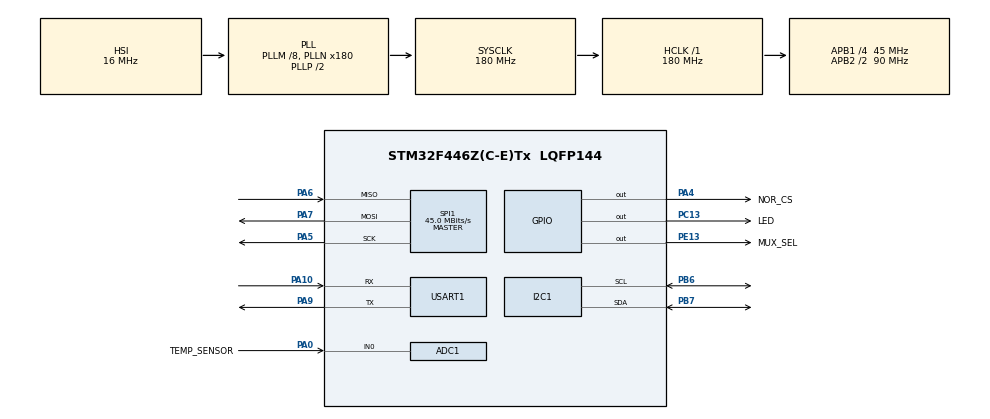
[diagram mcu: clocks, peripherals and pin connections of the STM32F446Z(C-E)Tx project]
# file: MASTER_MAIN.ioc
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ADC1.Channel-0\#ChannelRegularConversion=ADC_CHANNEL_0
ADC1.NbrOfConversionFlag=1
ADC1.Rank-0\#ChannelRegularConversion=1
ADC1.SamplingTime-0\#ChannelRegularConversion=ADC_SAMPLETIME_3CYCLES
ADC1.master=1
FREERTOS.INCLUDE_vTaskDelayUntil=1
FREERTOS.Tasks01=Task01,2,128,StartTask01,Default,NULL,Dynamic,NULL,NULL;Task02,0,128,StartTask02,Default,NULL,Dynamic,NULL,NULL
Mcu.Family=STM32F4
Mcu.Name=STM32F446Z(C-E)Tx
Mcu.Package=LQFP144
NVIC.PriorityGroup=NVIC_PRIORITYGROUP_4
NVIC.TIM1_UP_TIM10_IRQn=true\:15\:0\:false\:false\:true\:false\:false\:true\:true
NVIC.TimeBase=TIM1_UP_TIM10_IRQn
NVIC.TimeBaseIP=TIM1
PA0-WKUP.GPIO_Label=TEMP_SENSOR
PA0-WKUP.Signal=ADCx_IN0
PA10.Mode=Asynchronous
PA10.Signal=USART1_RX
PA13.Mode=Serial_Wire
PA13.Signal=SYS_JTMS-SWDIO
PA14.Mode=Serial_Wire
PA14.Signal=SYS_JTCK-SWCLK
PA4.GPIO_Label=NOR_CS
PA4.Signal=GPIO_Output
PA5.Mode=Full_Duplex_Master
PA5.Signal=SPI1_SCK
PA6.Mode=Full_Duplex_Master
PA6.Signal=SPI1_MISO
PA7.Mode=Full_Duplex_Master
PA7.Signal=SPI1_MOSI
PA9.Mode=Asynchronous
PA9.Signal=USART1_TX
PB6.Mode=I2C
PB6.Signal=I2C1_SCL
PB7.Mode=I2C
PB7.Signal=I2C1_SDA
PC13.GPIO_Label=LED
PC13.Signal=GPIO_Output
PE13.GPIO_Label=MUX_SEL
PE13.Signal=GPIO_Output
ProjectManager.HeapSize=0x200
ProjectManager.StackSize=0x400
ProjectManager.TargetToolchain=STM32CubeIDE
RCC.AHBFreq_Value=180000000
RCC.APB1CLKDivider=RCC_HCLK_DIV4
RCC.APB1Freq_Value=45000000
RCC.APB1TimFreq_Value=90000000
RCC.APB2CLKDivider=RCC_HCLK_DIV2
RCC.APB2Freq_Value=90000000
RCC.APB2TimFreq_Value=180000000
RCC.CortexFreq_Value=180000000
RCC.HCLKFreq_Value=180000000
RCC.PLLM=8
RCC.PLLN=180
RCC.SYSCLKFreq_VALUE=180000000
RCC.SYSCLKSource=RCC_SYSCLKSOURCE_PLLCLK
RCC.USBFreq_Value=180000000
RCC.VCOOutputFreq_Value=360000000
SH.ADCx_IN0.0=ADC1_IN0,IN0
SPI1.BaudRatePrescaler=SPI_BAUDRATEPRESCALER_2
SPI1.CalculateBaudRate=45.0 MBits/s
SPI1.Direction=SPI_DIRECTION_2LINES
SPI1.Mode=SPI_MODE_MASTER
SPI1.VirtualType=VM_MASTER
USART1.VirtualMode=VM_ASYNC
VP_FREERTOS_VS_CMSIS_V1.Mode=CMSIS_V1
VP_SYS_VS_tim1.Mode=TIM1
board=custom

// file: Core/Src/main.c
/* USER CODE BEGIN Header */
/**
  ******************************************************************************
  * @file           : main.c
  * @brief          : Main program body
  ******************************************************************************
  * @attention
  *
  * Copyright (c) 2023 STMicroelectronics.
  * All rights reserved.
  *
  * This software is licensed under terms that can be found in the LICENSE file
  * in the root directory of this software component.
  * If no LICENSE file comes with this software, it is provided AS-IS.
  *
  ******************************************************************************
  */
/* USER CODE END Header */
#include "main.h"
#include "cmsis_os.h"

/* USER CODE BEGIN Includes */
#include <stdio.h>
#include "util.h"
/* USER CODE END Includes */

ADC_HandleTypeDef hadc1;

I2C_HandleTypeDef hi2c1;

SPI_HandleTypeDef hspi1;

UART_HandleTypeDef huart1;

osThreadId Task01Handle;
osThreadId Task02Handle;

void SystemClock_Config(void);
static void MX_GPIO_Init(void);
static void MX_ADC1_Init(void);
static void MX_I2C1_Init(void);
static void MX_SPI1_Init(void);
static void MX_USART1_UART_Init(void);
void StartTask01(void const * argument);
void StartTask02(void const * argument);

/* USER CODE BEGIN PFP */
#ifdef __GNUC__
#define PUTCHAR_PROTOTYPE int __io_putchar(int ch)
#else
#define PUTCHAR_PROTOTYPE int fputc(int ch, FILE *f)
#endif

PUTCHAR_PROTOTYPE
{
  HAL_UART_Transmit(&huart1, (uint8_t *)&ch, 1, HAL_MAX_DELAY);
  return ch;
}
/* USER CODE END PFP */

/* USER CODE BEGIN 0 */
void blink(int delayOn, int delayOff){
	printf("LED ON\n\r");
	HAL_GPIO_WritePin(LED_GPIO_Port, LED_Pin, GPIO_PIN_RESET);
	HAL_Delay(delayOn);

	printf("LED OFF\n\r");
	HAL_GPIO_WritePin(LED_GPIO_Port, LED_Pin, GPIO_PIN_SET);
	HAL_Delay(delayOff);
}
/* USER CODE END 0 */

int main(void)
{

  /* MCU Configuration--------------------------------------------------------*/

  /* Reset of all peripherals, Initializes the Flash interface and the Systick. */
  HAL_Init();

  /* Configure the system clock */
  SystemClock_Config();

  /* Initialize all configured peripherals */
  MX_GPIO_Init();
  MX_ADC1_Init();
  MX_I2C1_Init();
  MX_SPI1_Init();
  MX_USART1_UART_Init();

  /* Create the thread(s) */
  /* definition and creation of Task01 */
  osThreadDef(Task01, StartTask01, osPriorityHigh, 0, 128);
  Task01Handle = osThreadCreate(osThread(Task01), NULL);

  /* definition and creation of Task02 */
  osThreadDef(Task02, StartTask02, osPriorityNormal, 0, 128);
  Task02Handle = osThreadCreate(osThread(Task02), NULL);

  /* Start scheduler */
  osKernelStart();

  /* We should never get here as control is now taken by the scheduler */
  /* Infinite loop */
  while (1)
  {

  }
}

void SystemClock_Config(void)
{
  RCC_OscInitTypeDef RCC_OscInitStruct = {0};
  RCC_ClkInitTypeDef RCC_ClkInitStruct = {0};

  /** Configure the main internal regulator output voltage
  */
  __HAL_RCC_PWR_CLK_ENABLE();
  __HAL_PWR_VOLTAGESCALING_CONFIG(PWR_REGULATOR_VOLTAGE_SCALE1);

  /** Initializes the RCC Oscillators according to the specified parameters
  * in the RCC_OscInitTypeDef structure.
  */
  RCC_OscInitStruct.OscillatorType = RCC_OSCILLATORTYPE_HSI;
  RCC_OscInitStruct.HSIState = RCC_HSI_ON;
  RCC_OscInitStruct.HSICalibrationValue = RCC_HSICALIBRATION_DEFAULT;
  RCC_OscInitStruct.PLL.PLLState = RCC_PLL_ON;
  RCC_OscInitStruct.PLL.PLLSource = RCC_PLLSOURCE_HSI;
  RCC_OscInitStruct.PLL.PLLM = 8;
  RCC_OscInitStruct.PLL.PLLN = 180;
  RCC_OscInitStruct.PLL.PLLP = RCC_PLLP_DIV2;
  RCC_OscInitStruct.PLL.PLLQ = 2;
  RCC_OscInitStruct.PLL.PLLR = 2;
  if (HAL_RCC_OscConfig(&RCC_OscInitStruct) != HAL_OK)
  {
    Error_Handler();
  }

  /** Activate the Over-Drive mode
  */
  if (HAL_PWREx_EnableOverDrive() != HAL_OK)
  {
    Error_Handler();
  }

  /** Initializes the CPU, AHB and APB buses clocks
  */
  RCC_ClkInitStruct.ClockType = RCC_CLOCKTYPE_HCLK|RCC_CLOCKTYPE_SYSCLK
                              |RCC_CLOCKTYPE_PCLK1|RCC_CLOCKTYPE_PCLK2;
  RCC_ClkInitStruct.SYSCLKSource = RCC_SYSCLKSOURCE_PLLCLK;
  RCC_ClkInitStruct.AHBCLKDivider = RCC_SYSCLK_DIV1;
  RCC_ClkInitStruct.APB1CLKDivider = RCC_HCLK_DIV4;
  RCC_ClkInitStruct.APB2CLKDivider = RCC_HCLK_DIV2;

  if (HAL_RCC_ClockConfig(&RCC_ClkInitStruct, FLASH_LATENCY_5) != HAL_OK)
  {
    Error_Handler();
  }
}

static void MX_ADC1_Init(void)
{

  ADC_ChannelConfTypeDef sConfig = {0};

  /** Configure the global features of the ADC (Clock, Resolution, Data Alignment and number of conversion)
  */
  hadc1.Instance = ADC1;
  hadc1.Init.ClockPrescaler = ADC_CLOCK_SYNC_PCLK_DIV4;
  hadc1.Init.Resolution = ADC_RESOLUTION_12B;
  hadc1.Init.ScanConvMode = DISABLE;
  hadc1.Init.ContinuousConvMode = DISABLE;
  hadc1.Init.DiscontinuousConvMode = DISABLE;
  hadc1.Init.ExternalTrigConvEdge = ADC_EXTERNALTRIGCONVEDGE_NONE;
  hadc1.Init.ExternalTrigConv = ADC_SOFTWARE_START;
  hadc1.Init.DataAlign = ADC_DATAALIGN_RIGHT;
  hadc1.Init.NbrOfConversion = 1;
  hadc1.Init.DMAContinuousRequests = DISABLE;
  hadc1.Init.EOCSelection = ADC_EOC_SINGLE_CONV;
  if (HAL_ADC_Init(&hadc1) != HAL_OK)
  {
    Error_Handler();
  }

  /** Configure for the selected ADC regular channel its corresponding rank in the sequencer and its sample time.
  */
  sConfig.Channel = ADC_CHANNEL_0;
  sConfig.Rank = 1;
  sConfig.SamplingTime = ADC_SAMPLETIME_3CYCLES;
  if (HAL_ADC_ConfigChannel(&hadc1, &sConfig) != HAL_OK)
  {
    Error_Handler();
  }

}

static void MX_I2C1_Init(void)
{

  hi2c1.Instance = I2C1;
  hi2c1.Init.ClockSpeed = 100000;
  hi2c1.Init.DutyCycle = I2C_DUTYCYCLE_2;
  hi2c1.Init.OwnAddress1 = 0;
  hi2c1.Init.AddressingMode = I2C_ADDRESSINGMODE_7BIT;
  hi2c1.Init.DualAddressMode = I2C_DUALADDRESS_DISABLE;
  hi2c1.Init.OwnAddress2 = 0;
  hi2c1.Init.GeneralCallMode = I2C_GENERALCALL_DISABLE;
  hi2c1.Init.NoStretchMode = I2C_NOSTRETCH_DISABLE;
  if (HAL_I2C_Init(&hi2c1) != HAL_OK)
  {
    Error_Handler();
  }

}

static void MX_SPI1_Init(void)
{

  /* SPI1 parameter configuration*/
  hspi1.Instance = SPI1;
  hspi1.Init.Mode = SPI_MODE_MASTER;
  hspi1.Init.Direction = SPI_DIRECTION_2LINES;
  hspi1.Init.DataSize = SPI_DATASIZE_8BIT;
  hspi1.Init.CLKPolarity = SPI_POLARITY_LOW;
  hspi1.Init.CLKPhase = SPI_PHASE_1EDGE;
  hspi1.Init.NSS = SPI_NSS_SOFT;
  hspi1.Init.BaudRatePrescaler = SPI_BAUDRATEPRESCALER_2;
  hspi1.Init.FirstBit = SPI_FIRSTBIT_MSB;
  hspi1.Init.TIMode = SPI_TIMODE_DISABLE;
  hspi1.Init.CRCCalculation = SPI_CRCCALCULATION_DISABLE;
  hspi1.Init.CRCPolynomial = 10;
  if (HAL_SPI_Init(&hspi1) != HAL_OK)
  {
    Error_Handler();
  }

}

static void MX_USART1_UART_Init(void)
{

  huart1.Instance = USART1;
  huart1.Init.BaudRate = 115200;
  huart1.Init.WordLength = UART_WORDLENGTH_8B;
  huart1.Init.StopBits = UART_STOPBITS_1;
  huart1.Init.Parity = UART_PARITY_NONE;
  huart1.Init.Mode = UART_MODE_TX_RX;
  huart1.Init.HwFlowCtl = UART_HWCONTROL_NONE;
  huart1.Init.OverSampling = UART_OVERSAMPLING_16;
  if (HAL_UART_Init(&huart1) != HAL_OK)
  {
    Error_Handler();
  }

}

static void MX_GPIO_Init(void)
{
  GPIO_InitTypeDef GPIO_InitStruct = {0};

  /* GPIO Ports Clock Enable */
  __HAL_RCC_GPIOC_CLK_ENABLE();
  __HAL_RCC_GPIOA_CLK_ENABLE();
  __HAL_RCC_GPIOE_CLK_ENABLE();
  __HAL_RCC_GPIOB_CLK_ENABLE();

  /*Configure GPIO pin Output Level */
  HAL_GPIO_WritePin(LED_GPIO_Port, LED_Pin, GPIO_PIN_RESET);

  /*Configure GPIO pin Output Level */
  HAL_GPIO_WritePin(NOR_CS_GPIO_Port, NOR_CS_Pin, GPIO_PIN_RESET);

  /*Configure GPIO pin Output Level */
  HAL_GPIO_WritePin(MUX_SEL_GPIO_Port, MUX_SEL_Pin, GPIO_PIN_RESET);

  /*Configure GPIO pin : LED_Pin */
  GPIO_InitStruct.Pin = LED_Pin;
  GPIO_InitStruct.Mode = GPIO_MODE_OUTPUT_PP;
  GPIO_InitStruct.Pull = GPIO_NOPULL;
  GPIO_InitStruct.Speed = GPIO_SPEED_FREQ_LOW;
  HAL_GPIO_Init(LED_GPIO_Port, &GPIO_InitStruct);

  /*Configure GPIO pin : NOR_CS_Pin */
  GPIO_InitStruct.Pin = NOR_CS_Pin;
  GPIO_InitStruct.Mode = GPIO_MODE_OUTPUT_PP;
  GPIO_InitStruct.Pull = GPIO_NOPULL;
  GPIO_InitStruct.Speed = GPIO_SPEED_FREQ_LOW;
  HAL_GPIO_Init(NOR_CS_GPIO_Port, &GPIO_InitStruct);

  /*Configure GPIO pin : MUX_SEL_Pin */
  GPIO_InitStruct.Pin = MUX_SEL_Pin;
  GPIO_InitStruct.Mode = GPIO_MODE_OUTPUT_PP;
  GPIO_InitStruct.Pull = GPIO_NOPULL;
  GPIO_InitStruct.Speed = GPIO_SPEED_FREQ_LOW;
  HAL_GPIO_Init(MUX_SEL_GPIO_Port, &GPIO_InitStruct);

}

void StartTask01(void const * argument)
{
  for(;;)
  {
    osDelay(1);
  }
}

void StartTask02(void const * argument)
{
  /* USER CODE BEGIN StartTask02 */
  /* Infinite loop */
  for(;;){
	  if(HAL_I2C_Master_Receive(&hi2c1, ADDR_TTC<<1, I2C_RX_BUF, 55, HAL_MAX_DELAY) == HAL_OK){
		  if(I2C_RX_BUF[4] == 1){
			  ParseCMD();
			  if(HAL_I2C_Master_Transmit(&hi2c1, ADDR_I2C, I2C_TX_BUF, 5, HAL_MAX_DELAY) == HAL_OK){
				  if(HAL_I2C_Master_Receive(&hi2c1, ADDR_I2C, I2C_RX_BUF, 55, HAL_MAX_DELAY) == HAL_OK){
					  ParseRes();
				  }
			  }
		  }
		  Clr_I2C_TX();
	  }
	  osDelay(5000);
  }
  /* USER CODE END StartTask02 */
}

void HAL_TIM_PeriodElapsedCallback(TIM_HandleTypeDef *htim)
{
  if (htim->Instance == TIM1) {
    HAL_IncTick();
  }
}

void Error_Handler(void)
{
  __disable_irq();
  while (1)
  {
  }
}
